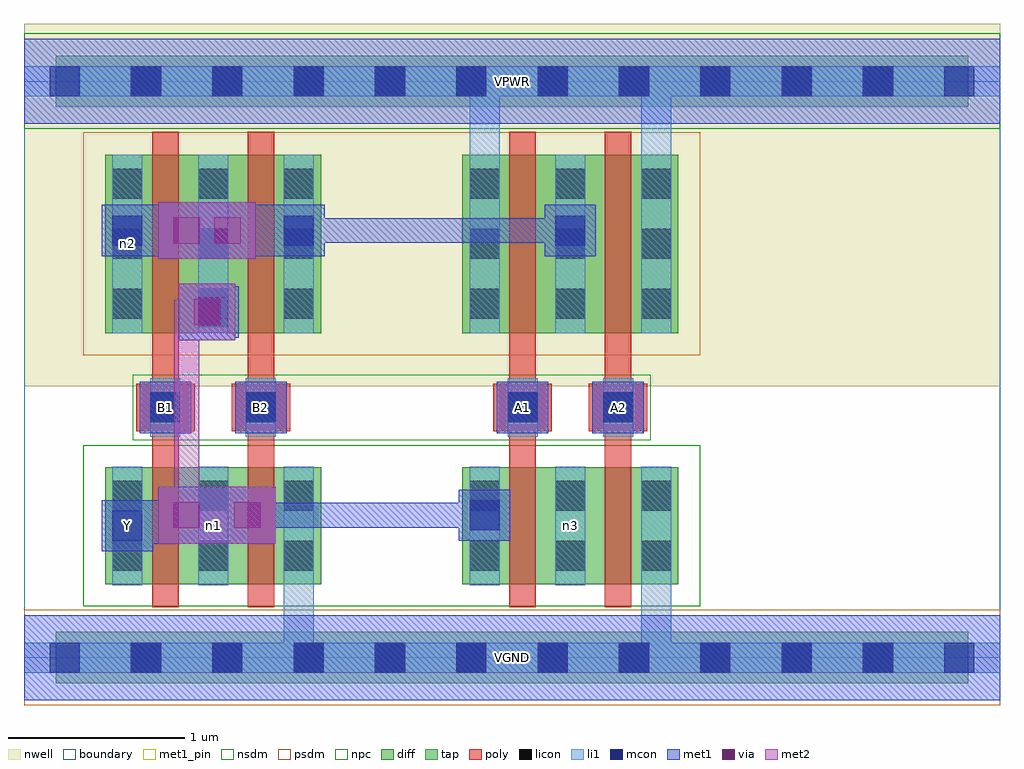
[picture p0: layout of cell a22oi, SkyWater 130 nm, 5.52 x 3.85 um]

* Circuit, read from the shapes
.subckt a22oi A1 A2 B1 B2 VGND VPWR Y n1 n2 n3
XM1 n1 B1 Y VGND sky130_fd_pr__nfet_01v8 w=0.66 l=0.15
XM2 VGND B2 n1 VGND sky130_fd_pr__nfet_01v8 w=0.66 l=0.15
XM3 n3 A1 Y VGND sky130_fd_pr__nfet_01v8 w=0.66 l=0.15
XM4 VGND A2 n3 VGND sky130_fd_pr__nfet_01v8 w=0.66 l=0.15
XM5 Y B1 n2 VPWR sky130_fd_pr__pfet_01v8 w=1.01 l=0.15
XM6 n2 B2 Y VPWR sky130_fd_pr__pfet_01v8 w=1.01 l=0.15
XM7 n2 A1 VPWR VPWR sky130_fd_pr__pfet_01v8 w=1.01 l=0.15
XM8 VPWR A2 n2 VPWR sky130_fd_pr__pfet_01v8 w=1.01 l=0.15
.ends

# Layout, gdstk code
import gdstk
lib = gdstk.Library(unit=1e-6, precision=1e-09)
def R(c, l, rs):  # rectangles x0, y0, x1, y1
    for r in rs: c.add(gdstk.rectangle(r[:2], r[2:], *l))
def A(c, l, x, y, w, h, nx, ny, dx, dy):  # array of equal rectangles
    R(c, l, [(x+i*dx, y+j*dy, x+i*dx+w, y+j*dy+h) for i in range(nx) for j in range(ny)])
nwell = (64, 20)
diff = (65, 20)
tap = (65, 44)
poly = (66, 20)
licon = (66, 44)
li1 = (67, 20)
mcon = (67, 44)
met1_pin = (68, 16)
met1 = (68, 20)
via = (68, 44)
met2 = (69, 20)
nsdm = (93, 44)
psdm = (94, 20)
npc = (95, 20)
boundary = (235, 4)

a22oi = lib.new_cell('a22oi')
R(a22oi, nwell, [(0,1.535,5.52,3.585)])
R(a22oi, diff, [(0.46,0.415,1.68,1.075), (2.48,0.415,3.7,1.075), (0.46,1.835,1.68,2.845), (2.48,1.835,3.7,2.845)])
R(a22oi, tap, [(0.18,-0.145,5.34,0.145), (0.18,3.115,5.34,3.405)])
R(a22oi, poly, [(0.725,0.285,0.875,2.975), (1.265,0.285,1.415,2.975), (2.745,0.285,2.895,2.975), (3.285,0.285,3.435,2.975), (0.635,1.28,0.965,1.55), (1.175,1.28,1.505,1.55), (2.655,1.28,2.985,1.55), (3.195,1.28,3.525,1.55)])
A(a22oi, licon, 0.605, -0.085, 0.17, 0.17, 10, 2, 0.46, 3.26)
A(a22oi, licon, 0.5, 0.49, 0.17, 0.17, 3, 2, 0.485, 0.34)
A(a22oi, licon, 2.52, 0.49, 0.17, 0.17, 3, 2, 0.485, 0.34)
A(a22oi, licon, 0.5, 1.915, 0.17, 0.17, 3, 3, 0.485, 0.34)
A(a22oi, licon, 2.52, 1.915, 0.17, 0.17, 3, 3, 0.485, 0.34)
R(a22oi, licon, [(0.715,1.33,0.885,1.5), (1.255,1.33,1.425,1.5), (2.735,1.33,2.905,1.5), (3.275,1.33,3.445,1.5)])
A(a22oi, li1, 0.5, 0.41, 0.17, 0.67, 3, 1, 0.485, 0)
A(a22oi, li1, 2.52, 0.41, 0.17, 0.67, 3, 1, 0.485, 0)
A(a22oi, li1, 0.5, 1.835, 0.17, 1.01, 3, 1, 0.485, 0)
A(a22oi, li1, 2.52, 1.835, 0.17, 1.01, 3, 1, 0.485, 0)
R(a22oi, li1, [(0,-0.085,5.52,0.085), (1.47,-0.085,1.64,1.08), (3.49,-0.085,3.66,1.08), (0.715,1.25,0.885,1.58), (1.255,1.25,1.425,1.58), (2.735,1.25,2.905,1.58), (3.275,1.25,3.445,1.58), (2.52,1.835,2.69,3.345), (3.49,1.835,3.66,3.345), (0,3.175,5.52,3.345)])
A(a22oi, mcon, 0.145, -0.085, 0.17, 0.17, 12, 2, 0.46, 3.26)
R(a22oi, mcon, [(0.5,0.66,0.67,0.83), (2.52,0.72,2.69,0.89), (0.715,1.33,0.885,1.5), (1.255,1.33,1.425,1.5), (2.735,1.33,2.905,1.5), (3.275,1.33,3.445,1.5), (0.985,1.87,1.155,2.04), (0.5,2.33,0.67,2.5), (1.47,2.33,1.64,2.5), (3.005,2.33,3.175,2.5)])
R(a22oi, met1_pin, [(0,-0.24,5.52,0.24), (0.44,0.6,0.73,0.89), (0.655,1.27,0.945,1.56), (1.195,1.27,1.485,1.56), (2.675,1.27,2.965,1.56), (3.215,1.27,3.505,1.56), (0,3.02,5.52,3.5)])
R(a22oi, met1, [(0,-0.24,5.52,0.24), (0.44,0.6,0.73,0.89), (0.73,0.645,0.76,0.89), (0.76,0.645,1.08,0.965), (1.08,0.645,1.105,0.965), (1.105,0.645,1.425,0.965), (2.46,0.66,2.75,0.95), (0.505,0.735,0.645,0.875), (0.505,0.735,0.99,0.875), (0.99,0.735,1.105,0.875), (1.08,0.735,1.195,0.875), (1.195,0.735,2.485,0.875), (2.345,0.735,2.675,0.875), (0.655,1.27,0.945,1.56), (1.195,1.27,1.485,1.56), (2.675,1.27,2.965,1.56), (3.215,1.27,3.505,1.56), (0.875,1.795,1.195,2.115), (0.925,1.81,1.215,2.1), (0.965,1.885,1.14,2.025), (0.76,2.255,1.08,2.575), (0.99,2.255,1.31,2.575), (0.44,2.27,0.73,2.56), (0.73,2.27,0.76,2.56), (1.31,2.27,1.41,2.56), (1.41,2.27,1.7,2.56), (2.945,2.27,3.235,2.56), (0.515,2.345,0.76,2.485), (0.62,2.345,0.99,2.485), (1.08,2.345,1.45,2.485), (1.31,2.345,1.625,2.485), (1.31,2.345,3.06,2.485), (2.92,2.345,3.16,2.485), (0,3.02,5.52,3.5)])
R(a22oi, via, [(0.845,0.73,0.995,0.88), (1.19,0.73,1.34,0.88), (0.96,1.88,1.11,2.03), (0.845,2.34,0.995,2.49), (1.075,2.34,1.225,2.49)])
R(a22oi, met2, [(0.76,0.645,1.08,0.965), (1.08,0.645,1.105,0.965), (1.105,0.645,1.425,0.965), (0.85,0.735,0.99,2.025), (0.85,0.735,1.335,0.875), (0.99,0.735,1.105,0.965), (0.875,1.795,1.195,2.115), (0.85,1.885,1.105,2.025), (0.76,2.255,1.08,2.575), (0.99,2.255,1.31,2.575), (0.85,2.345,1.22,2.485)])
R(a22oi, nsdm, [(0.335,0.29,3.825,1.2), (0,2.99,5.52,3.53)])
R(a22oi, psdm, [(0,-0.27,5.52,0.27), (0.335,1.71,3.825,2.97)])
R(a22oi, npc, [(0.615,1.23,3.545,1.6)])
R(a22oi, boundary, [(0,0,5.52,3.26)])
a22oi.add(gdstk.Label('n1', (1.07,0.745), layer=67, texttype=5))
a22oi.add(gdstk.Label('n3', (3.09,0.745), layer=67, texttype=5))
a22oi.add(gdstk.Label('n2', (0.585,2.34), layer=67, texttype=5))
a22oi.add(gdstk.Label('A1', (2.82,1.415), layer=68, texttype=5))
a22oi.add(gdstk.Label('A2', (3.36,1.415), layer=68, texttype=5))
a22oi.add(gdstk.Label('B1', (0.8,1.415), layer=68, texttype=5))
a22oi.add(gdstk.Label('B2', (1.34,1.415), layer=68, texttype=5))
a22oi.add(gdstk.Label('Y', (0.585,0.745), layer=68, texttype=5))
a22oi.add(gdstk.Label('VPWR', (2.76,3.26), layer=68, texttype=5))
a22oi.add(gdstk.Label('VGND', (2.76,0), layer=68, texttype=5))
a22oi.add(gdstk.Label('A1', (2.82,1.415), layer=68, texttype=16))
a22oi.add(gdstk.Label('A2', (3.36,1.415), layer=68, texttype=16))
a22oi.add(gdstk.Label('B1', (0.8,1.415), layer=68, texttype=16))
a22oi.add(gdstk.Label('B2', (1.34,1.415), layer=68, texttype=16))
a22oi.add(gdstk.Label('Y', (0.585,0.745), layer=68, texttype=16))
a22oi.add(gdstk.Label('VPWR', (2.76,3.26), layer=68, texttype=16))
a22oi.add(gdstk.Label('VGND', (2.76,0), layer=68, texttype=16))

lib.write_gds('a22oi.gds')
